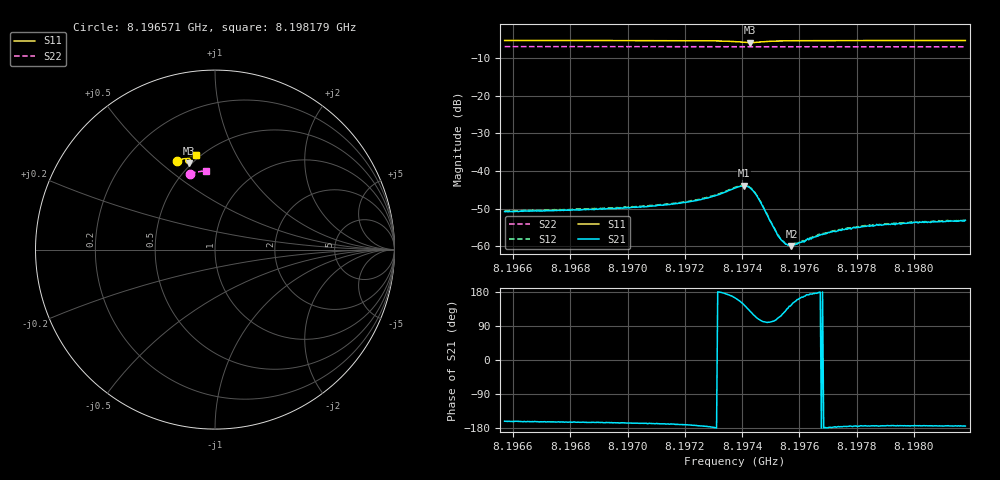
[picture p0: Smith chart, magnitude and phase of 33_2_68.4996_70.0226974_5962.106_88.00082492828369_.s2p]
#  HZ  S  RI  R  50.00
! Rohde & Schwarz Vector Network Analyzer
! Rohde-Schwarz,ZNB20-2Port,1311601062101988,3.16
! Created: UTC 3/20/2024, 4:50:01 PM
! freq[Hz]  re:S11  im:S11  re:S21  im:S21  re:S12  im:S12  re:S22  im:S22
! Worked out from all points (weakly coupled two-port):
!   401 points, 8.196571 GHz to 8.198179 GHz, reference 50 ohm
!   highest |S21| = -43.90 dB at 8.197407 GHz (marker M1); lowest = -59.9 dB at 8.197572 GHz (marker M2)
!   lowest |S11| = -6.0 dB at 8.197427 GHz (marker M3), VSWR 3.02, Z = 24.2 + j31.2 ohm
!   |S11| at or under -10 dB: nowhere
!   |S22| runs from -7.1 to -7.0 dB; largest |S21 - S12| = 0.00031
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8.1965709e9  -0.2093 0.4942  -0.00275 -0.000915  -0.00285 -0.000815  -0.1381 0.4228
8.1968403e9  -0.1904 0.5011  -0.00295 -0.000827  -0.00305 -0.00074  -0.1237 0.4267
8.196969e9  -0.1809 0.5043  -0.0031 -0.000779  -0.0032 -0.000662  -0.1166 0.4285
8.1971097e9  -0.1698 0.5074  -0.00344 -0.00073  -0.0035 -0.000581  -0.1089 0.4303
8.1972505e9  -0.156 0.5095  -0.00412 -0.000448  -0.00418 -0.000306  -0.101 0.4319
8.1973148e9  -0.147 0.5082  -0.00481 1.34e-05  -0.00493 0.000195  -0.0975 0.4325
8.1973752e9  -0.1371 0.4994  -0.0057 0.00163  -0.00578 0.00194  -0.0938 0.4329
8.1974073e9  -0.1375 0.4873  -0.00523 0.00366  -0.00515 0.00392  -0.0922 0.433
8.1974275e9  -0.145 0.4811  -0.00378 0.00467  -0.00361 0.00488  -0.0913 0.4331
8.1974435e9  -0.1532 0.4811  -0.00232 0.00461  -0.00212 0.0048  -0.0907 0.4332
8.1974596e9  -0.1593 0.4851  -0.00121 0.00397  -0.00103 0.00408  -0.09 0.4335
8.1975039e9  -0.1619 0.4989  -0.000392 0.00195  -0.000326 0.00199  -0.0876 0.4343
8.197532e9  -0.1592 0.5043  -0.000543 0.00118  -0.000505 0.00118  -0.086 0.4346
8.1975441e9  -0.1578 0.5061  -0.000633 0.00096  -0.000621 0.000992  -0.0853 0.4348
8.1975561e9  -0.1565 0.5074  -0.000751 0.000761  -0.000734 0.000822  -0.0847 0.4348
8.1975722e9  -0.1547 0.5089  -0.00083 0.000571  -0.000847 0.000623  -0.0837 0.4351
8.1975964e9  -0.152 0.5109  -0.00104 0.000378  -0.00102 0.000442  -0.0822 0.4353
8.1976446e9  -0.1471 0.5135  -0.00129 0.000147  -0.00131 0.000123  -0.0797 0.4358
8.197709e9  -0.1413 0.5159  -0.00156 -6.25e-05  -0.00156 3.52e-05  -0.076 0.4364
8.1977612e9  -0.1368 0.5173  -0.0017 -0.000141  -0.00173 -5.26e-05  -0.0732 0.4368
8.1979141e9  -0.1248 0.5206  -0.00195 -0.000222  -0.002 -0.000125  -0.0645 0.4378
8.1981795e9  -0.1051 0.5248  -0.00221 -0.000218  -0.00223 -0.000131  -0.0496 0.4394
